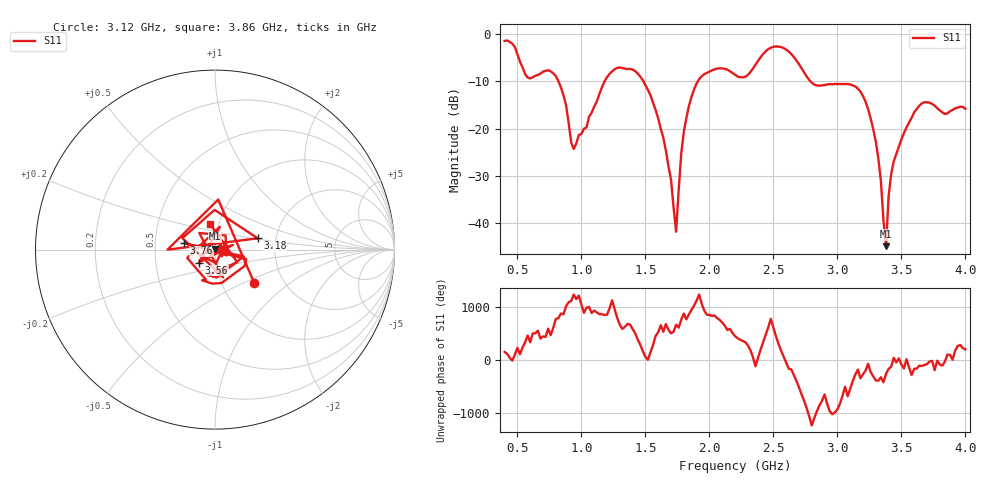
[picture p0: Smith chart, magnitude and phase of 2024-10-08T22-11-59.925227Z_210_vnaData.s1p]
! Created with skrf (http://scikit-rf.org).
# Hz S RI R 50.0
!freq ReS11 ImS11
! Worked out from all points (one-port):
!   181 points, 400 MHz to 4 GHz, reference 50 ohm
!   lowest |S11| = -45.0 dB at 3.38 GHz (marker M1), VSWR 1.01, Z = 49.9 + j0.558 ohm
!   |S11| at or under -10 dB: 821.2 MHz to 1.181 GHz (359.5 MHz wide, 35.9 % of centre); 1.485 GHz to 1.909 GHz (424.6 MHz wide, 25 % of centre); 2.79 GHz to end of sweep
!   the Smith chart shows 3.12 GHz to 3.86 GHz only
!   S11 on the Smith chart (normalised r, x): 3.12 GHz: 1.42, -0.58; 3.18 GHz: 1.61, +0.21; 3.56 GHz: 0.83, -0.12; 3.76 GHz: 0.71, +0.05; 3.86 GHz: 0.91, +0.26
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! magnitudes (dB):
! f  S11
! 400 MHz  -1.4
! 580 MHz  -9.2
! 760 MHz  -7.8
! 860 MHz  -13.0
! 940 MHz  -24.3
! 1.3 GHz  -7.0
! 1.44 GHz  -8.3
! 1.58 GHz  -16.1
! 1.7 GHz  -30.8
! 1.74 GHz  -41.9
! 1.76 GHz  -33.0
! 1.8 GHz  -20.7
! 1.9 GHz  -10.4
! 2.2 GHz  -8.6
! 2.5 GHz  -2.6
! 2.66 GHz  -4.8
! 2.82 GHz  -10.7
! 3.1 GHz  -10.6
! 3.12 GHz  -10.8
! 3.18 GHz  -12.2
! 3.3 GHz  -22.8
! 3.38 GHz  -45.0
! 3.4 GHz  -34.5
! 3.42 GHz  -29.7
! 3.56 GHz  -18.8
! 3.76 GHz  -15.1
! 3.86 GHz  -16.8
! 4 GHz  -15.8
